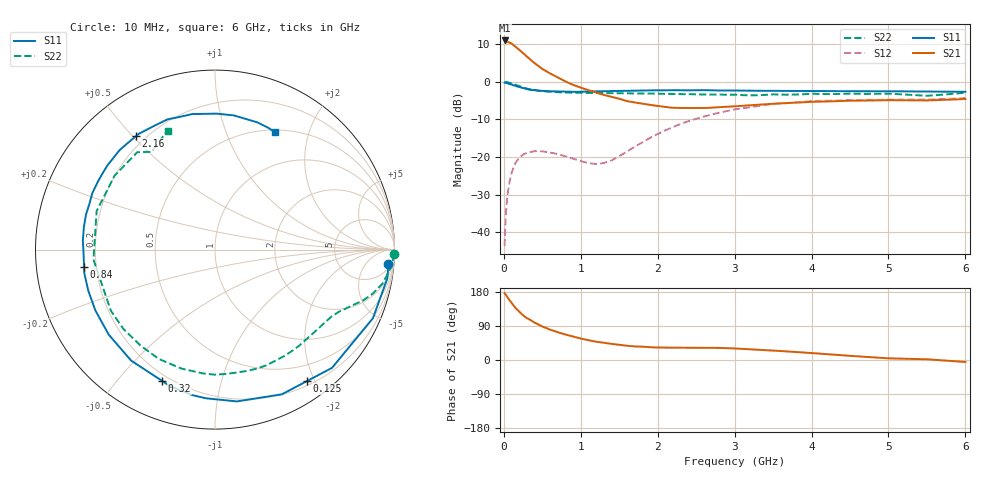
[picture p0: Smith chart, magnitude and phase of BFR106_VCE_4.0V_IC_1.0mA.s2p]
! Infineon Technologies  Discrete & RF Semiconductors
! BFR106
! VCE =  4.0 V,  IC =  1.0 mA
! Common Emitter S-Parameters:  Nov 2015
# GHz  S  MA  R  50
!  f  S11  S21  S12  S22
! GHz  MAG  ANG  MAG  ANG  MAG  ANG  MAG  ANG
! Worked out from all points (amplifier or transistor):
!   210 points, 10 MHz to 6 GHz, reference 50 ohm
!   highest |S21| = 11.0 dB at 10 MHz (marker M1)
!   |S21| within 3 dB of that: start of sweep to 228.5 MHz
!   unconditionally stable (mu >= 1): 851.5 MHz to 2.069 GHz; 2.497466 GHz to 2.504333 GHz; 2.604 GHz to end of sweep (the widest 3 of 4)
!   at 185 MHz: K = 0.20, MSG = 14.7 dB, |S12| = -20.6 dB
!   at 1.52 GHz: K = 1.34, MAG = 4.0 dB, |S12| = -19.6 dB
!   at 6 GHz: K = 1.02, MAG = -0.9 dB, |S12| = -4.4 dB
!   S11 on the Smith chart (normalised r, x): 10 MHz: 8, -21; 125 MHz: 0.26, -1.89; 320 MHz: 0.17, -0.66; 840 MHz: 0.15, -0.06; 2.16 GHz: 0.16, +0.51; 6 GHz: 0.53, +1.50
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0.01  0.9698 -4.7  3.537 176.3  0.0065 90.3  0.9999 -1.4
0.025  0.9672 -11.8  3.508 172.3  0.0163 82.8  0.9937 -3.1
0.05  0.9593 -23.5  3.418 164.1  0.0326 77.3  0.9838 -6.0
0.1  0.927 -45.3  3.227 150.8  0.0612 65.4  0.9532 -11.4
0.125  0.894 -55.0  3.059 144.4  0.0716 58.6  0.9315 -13.5
0.15  0.8882 -65.2  2.933 137.4  0.0827 53.5  0.9112 -15.7
0.2  0.8546 -81.8  2.662 127.3  0.0979 45.6  0.8741 -18.8
0.26  0.8207 -98.8  2.346 116.4  0.1089 37.2  0.8315 -21.7
0.32  0.7885 -112.0  2.065 108.5  0.1147 31.7  0.8022 -24.0
0.4  0.775 -127.1  1.762 98.4  0.1193 25.1  0.772 -26.7
0.5  0.7583 -141.4  1.481 88.3  0.1189 19.9  0.7486 -29.9
0.6  0.7477 -153.1  1.289 80.0  0.1147 17.0  0.7347 -33.3
0.84  0.7353 -172.6  0.967 65.1  0.0992 16.9  0.7158 -42.2
1.02  0.738 175.0  0.82 55.8  0.0866 23.8  0.711 -49.4
1.4  0.7527 155.3  0.627 42.4  0.0897 57.8  0.7055 -66.0
2.02  0.7673 129.7  0.473 32.8  0.2064 74.9  0.6916 -96.5
2.16  0.7705 124.8  0.454 32.6  0.2402 73.2  0.6879 -103.7
3.1  0.7622 97.6  0.478 29.4  0.4418 50.0  0.6633 -154.7
3.5  0.7576 89.3  0.509 25.1  0.5072 39.6  0.6793 -175.3
4.1  0.7529 80.8  0.543 16.9  0.5545 25.1  0.688 158.3
5.1  0.7453 70.4  0.567 3.9  0.5785 7.6  0.6849 127.6
6  0.7346 63.0  0.589 -5.2  0.6047 -3.4  0.714 111.7
